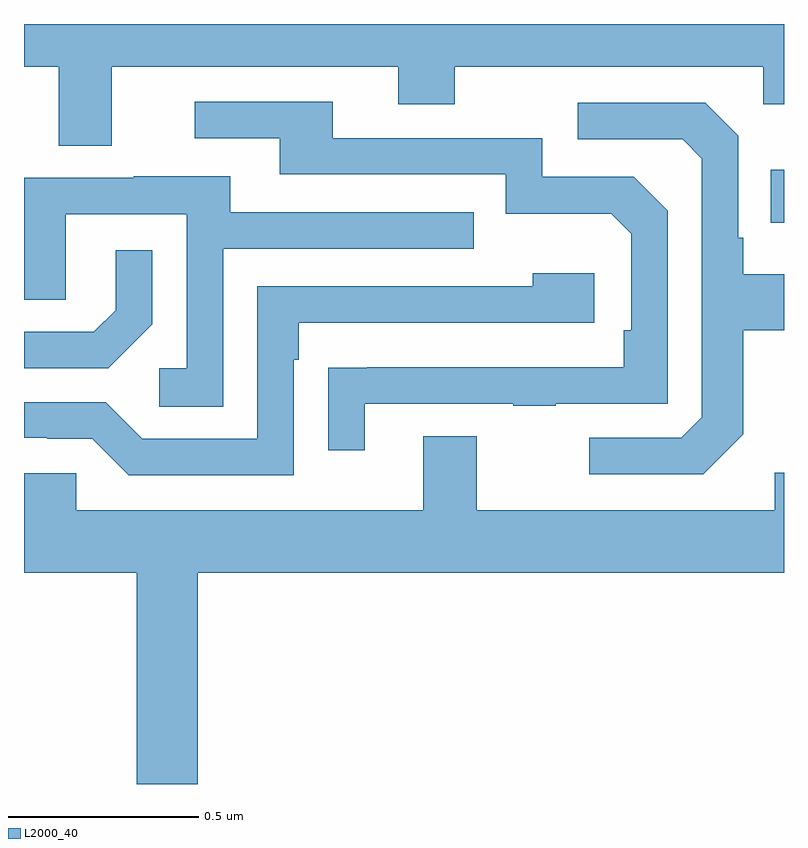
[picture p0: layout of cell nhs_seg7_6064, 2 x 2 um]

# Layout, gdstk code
import gdstk
lib = gdstk.Library(unit=1e-6, precision=1e-09)
def R(c, l, rs):  # rectangles x0, y0, x1, y1
    for r in rs: c.add(gdstk.rectangle(r[:2], r[2:], *l))
def P(c, l, *ps):  # polygons
    for p in ps: c.add(gdstk.Polygon(p, *l))
L2000_40 = (2000, 40)

nhs_seg7_6064 = lib.new_cell('nhs_seg7_6064')
R(nhs_seg7_6064, L2000_40, [(194.965,1061.477,195,1061.617)])
P(nhs_seg7_6064, L2000_40, [(193.231,1061.888),(193.985,1061.888),(193.985,1061.789),(194.133,1061.789),(194.133,1061.888),(194.946,1061.888),(194.946,1061.789),(195,1061.789),(195,1062),(193,1062),(193,1061.888),(193.091,1061.888),(193.091,1061.68),(193.231,1061.68)],
  [(193.897,1061.001),(194.287,1061.001),(194.287,1060.996),(194.399,1060.996),(194.399,1061.001),(194.694,1061.001),(194.694,1061.508),(194.604,1061.598),(194.364,1061.598),(194.364,1061.7),(193.813,1061.7),(193.813,1061.796),(193.449,1061.796),(193.449,1061.7),(193.673,1061.7),(193.673,1061.604),(194.268,1061.604),(194.268,1061.501),(194.545,1061.501),(194.598,1061.448),(194.598,1061.194),(194.578,1061.194),(194.578,1061.097),(193.903,1061.097),(193.903,1061.096),(193.801,1061.096),(193.801,1060.878),(193.897,1060.878)],
  [(194.893,1060.921),(194.893,1061.194),(195,1061.194),(195,1061.341),(194.893,1061.341),(194.893,1061.437),(194.88,1061.437),(194.88,1061.706),(194.793,1061.793),(194.457,1061.793),(194.457,1061.697),(194.733,1061.697),(194.784,1061.646),(194.784,1060.965),(194.73,1060.911),(194.487,1060.911),(194.487,1060.815),(194.787,1060.815)],
  [(193.524,1061.409),(194.183,1061.409),(194.183,1061.505),(193.543,1061.505),(193.543,1061.599),(193.289,1061.599),(193.289,1061.595),(193,1061.595),(193,1061.275),(193.11,1061.275),(193.11,1061.499),(193.428,1061.499),(193.428,1061.094),(193.356,1061.094),(193.356,1060.993),(193.524,1060.993)],
  [(193.338,1061.21),(193.338,1061.404),(193.241,1061.404),(193.241,1061.247),(193.184,1061.19),(193,1061.19),(193,1061.094),(193.222,1061.094)],
  [(193.71,1061.117),(193.723,1061.117),(193.723,1061.214),(194.5,1061.214),(194.5,1061.344),(194.339,1061.344),(194.339,1061.31),(193.614,1061.31),(193.614,1060.908),(193.311,1060.908),(193.215,1061.004),(193,1061.004),(193,1060.911),(193.061,1060.911),(193.061,1060.908),(193.179,1060.908),(193.275,1060.812),(193.71,1060.812)],
  [(193.457,1060.556),(195,1060.556),(195,1060.819),(194.975,1060.819),(194.975,1060.72),(194.191,1060.72),(194.191,1060.915),(194.051,1060.915),(194.051,1060.72),(193.137,1060.72),(193.137,1060.818),(193,1060.818),(193,1060.556),(193.297,1060.556),(193.297,1060),(193.457,1060)])

lib.write_gds('nhs_seg7_6064.gds')
